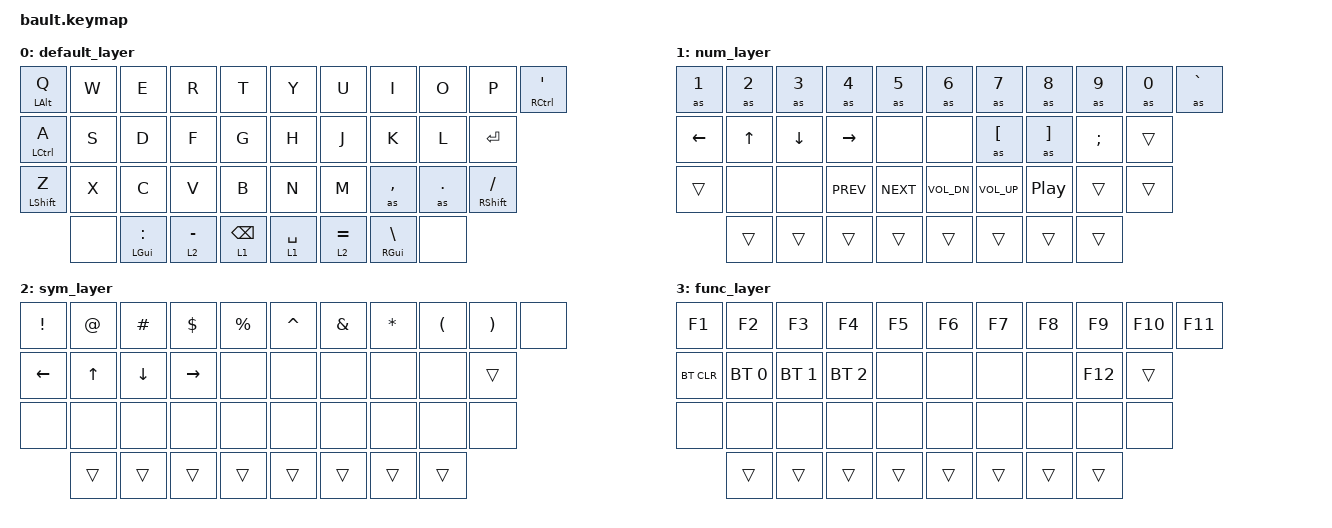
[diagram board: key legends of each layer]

#include <behaviors.dtsi>
#include <dt-bindings/zmk/keys.h>
#include <dt-bindings/zmk/bt.h>
#include <dt-bindings/zmk/outputs.h>

/ {
    behaviors {
        ht: hold_tap {
            compatible = "zmk,behavior-hold-tap";
            #binding-cells = <2>;
            flavor = "balanced";
            tapping-term-ms = <200>;
            quick-tap-ms = <220>;
            require-prior-idle-ms = <125>;
            bindings = <&kp>, <&kp>;
        };
        
        mt: mod_tap {
            #binding-cells = <2>;
            tapping-term-ms = <200>;
            quick-tap-ms = <220>;
            require-prior-idle-ms = <125>;
            bindings = <&kp>, <&kp>;
        };
        
        as_ht: autoshift_hold_tap {
            compatible = "zmk,behavior-hold-tap";
            #binding-cells = <2>;
            tapping-term-ms = <200>;
            bindings = <&shifted>, <&kp>;
            flavor = "tap-preferred";
        };

        qt_lt: quick_layer_tap {
            compatible = "zmk,behavior-hold-tap";
            #binding-cells = <2>;
            tapping-term-ms = <200>;
            quick-tap-ms = <150>;
            bindings = <&mo>, <&kp>;
        };
    };

    combos {
        compatible = "zmk,combos";

        combo_tab {
            timeout-ms = <40>;
            key-positions = <0 1>;
            layers = <0>;
            bindings = <&kp TAB>;
        };
        
        combo_del {
            timeout-ms = <40>;
            key-positions = <9 10>;
            bindings = <&kp DEL>;
        };
        
        combo_F3 {
            timeout-ms = <40>;
            key-positions = <12 13>;
            bindings = <&kp F3>;
        };
        
        combo_esc {
            timeout-ms = <40>;
            key-positions = <0 1>;
            layers = <1>;
            bindings = <&kp ESC>;
        };
        
        combo_l2left {
            timeout-ms = <50>;
            key-positions = <32 33>;
            bindings = <&mo 3>;
        };
        
        combo_l2right {
            timeout-ms = <50>;
            key-positions = <36 37>;
            bindings = <&mo 3>;
        };
        
        combo_reset {
            timeout-ms = <50>;
            key-positions = <0 9>;
            layers = <2>;
            bindings = <&sys_reset>;
        };
        
        combo_boot {
            timeout-ms = <50>;
            key-positions = <1 8>;
            layers = <2>;
            bindings = <&bootloader>;
        };
    };

    macros {
        shifted: macro_shifted_kp {
            #binding-cells = <1>;
            compatible = "zmk,behavior-macro-one-param";
            bindings =
                <&macro_press &kp LSHFT>,
                <&macro_param_1to1 &macro_tap &kp MACRO_PLACEHOLDER>,
                <&macro_release &kp LSHFT>;
        };
        
        as: autoshift {
            compatible = "zmk,behavior-macro-one-param";
            #binding-cells = <1>;
            bindings =
                <&macro_press>,
                <&macro_param_1to1>,
                <&macro_param_1to2>,
                <&as_ht MACRO_PLACEHOLDER MACRO_PLACEHOLDER>,
                <&macro_pause_for_release>,
                <&macro_release>,
                <&macro_param_1to1>,
                <&macro_param_1to2>,
                <&as_ht MACRO_PLACEHOLDER MACRO_PLACEHOLDER>;
        };
    };

    keymap {
        compatible = "zmk,keymap";
        
        default_layer {
            bindings = <
                &ht LALT Q      &kp W           &kp E           &kp R           &kp T           &kp Y           &kp U           &kp I           &kp O           &kp P           &ht RCTRL SQT    
                &ht LCTRL A     &kp S           &kp D           &kp F           &kp G           &kp H           &kp J           &kp K           &kp L           &kp RET     
                &ht LSHIFT Z    &kp X           &kp C           &kp V           &kp B           &kp N           &kp M           &as COMMA       &as DOT         &ht RSHIFT FSLH
                                &none           &ht LGUI COLON  &lt 2 MINUS     &qt_lt 1 BSPC   &qt_lt 1 SPACE  &lt 2 EQUAL     &ht RGUI BSLH   &none
            >;
        };

        num_layer {
            bindings = <
                &as N1          &as N2          &as N3          &as N4          &as N5          &as N6          &as N7          &as N8          &as N9          &as N0          &as GRAVE 
                &kp LEFT        &kp UP          &kp DOWN        &kp RIGHT       &none           &none           &as LBKT        &as RBKT        &kp SEMI        &trans
                &trans          &none           &none           &kp C_PREV      &kp C_NEXT      &kp C_VOL_DN  &kp C_VOL_UP      &kp C_PP        &trans          &trans
                                &trans          &trans          &trans          &trans          &trans          &trans          &trans          &trans
            >;
        };

        sym_layer {
            bindings = <
                &kp EXCL        &kp AT          &kp HASH        &kp DLLR        &kp PRCNT       &kp CARET       &kp AMPS        &kp STAR        &kp LPAR        &kp RPAR        &none      
                &kp LEFT        &kp UP          &kp DOWN        &kp RIGHT       &none           &none           &none           &none           &none           &trans     
                &none           &none           &none           &none           &none           &none           &none           &none           &none           &none
                                &trans          &trans          &trans          &trans          &trans          &trans          &trans          &trans          
            >;
        };

        func_layer {
            bindings = <
                &kp F1          &kp F2          &kp F3          &kp F4          &kp F5          &kp F6          &kp F7          &kp F8          &kp F9          &kp F10         &kp F11
                &bt BT_CLR      &bt BT_SEL 0    &bt BT_SEL 1    &bt BT_SEL 2    &none           &none           &none           &none           &kp F12         &trans 
                &none           &none           &none           &none           &none           &none           &none           &none           &none           &none
                                &trans          &trans          &trans          &trans          &trans          &trans          &trans          &trans              
            >;
        };
    };
};
